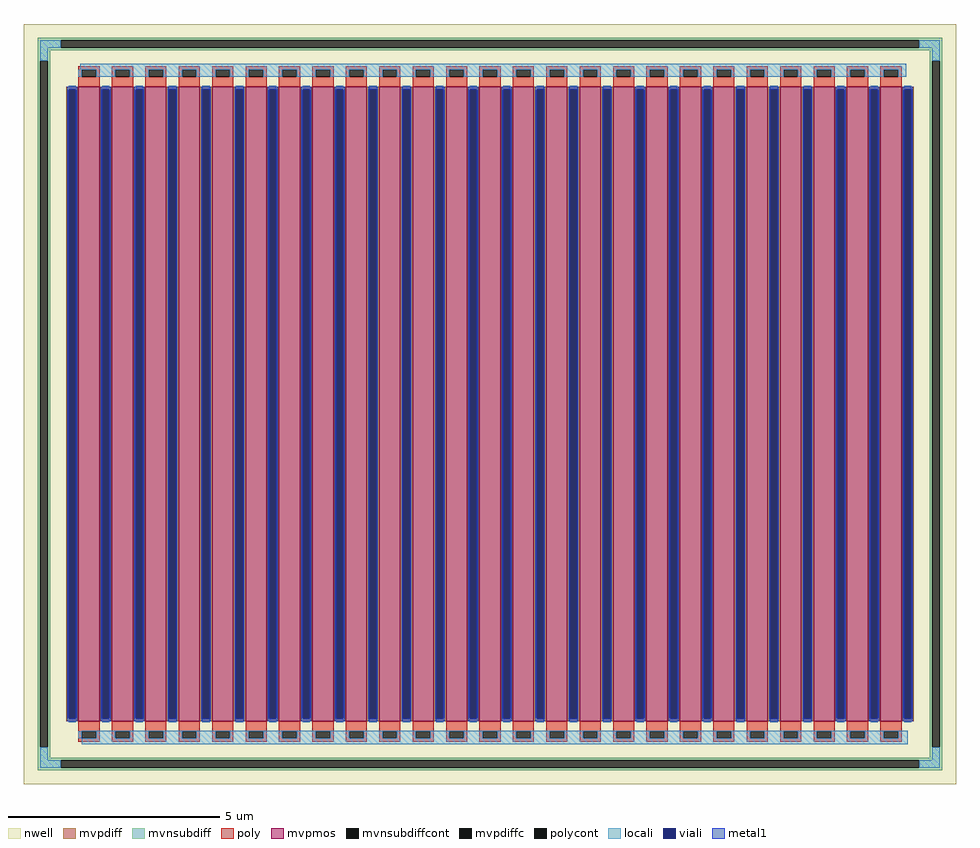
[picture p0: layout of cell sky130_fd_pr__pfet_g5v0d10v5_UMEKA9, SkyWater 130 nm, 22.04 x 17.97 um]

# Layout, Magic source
magic
tech sky130A
magscale 1 2
<< nwell >>
rect -2204 -1797 2204 1797
<< mvpmos >>
rect -1946 -1500 -1846 1500
rect -1788 -1500 -1688 1500
rect -1630 -1500 -1530 1500
rect -1472 -1500 -1372 1500
rect -1314 -1500 -1214 1500
rect -1156 -1500 -1056 1500
rect -998 -1500 -898 1500
rect -840 -1500 -740 1500
rect -682 -1500 -582 1500
rect -524 -1500 -424 1500
rect -366 -1500 -266 1500
rect -208 -1500 -108 1500
rect -50 -1500 50 1500
rect 108 -1500 208 1500
rect 266 -1500 366 1500
rect 424 -1500 524 1500
rect 582 -1500 682 1500
rect 740 -1500 840 1500
rect 898 -1500 998 1500
rect 1056 -1500 1156 1500
rect 1214 -1500 1314 1500
rect 1372 -1500 1472 1500
rect 1530 -1500 1630 1500
rect 1688 -1500 1788 1500
rect 1846 -1500 1946 1500
<< mvpdiff >>
rect -2004 1488 -1946 1500
rect -2004 -1488 -1992 1488
rect -1958 -1488 -1946 1488
rect -2004 -1500 -1946 -1488
rect -1846 1488 -1788 1500
rect -1846 -1488 -1834 1488
rect -1800 -1488 -1788 1488
rect -1846 -1500 -1788 -1488
rect -1688 1488 -1630 1500
rect -1688 -1488 -1676 1488
rect -1642 -1488 -1630 1488
rect -1688 -1500 -1630 -1488
rect -1530 1488 -1472 1500
rect -1530 -1488 -1518 1488
rect -1484 -1488 -1472 1488
rect -1530 -1500 -1472 -1488
rect -1372 1488 -1314 1500
rect -1372 -1488 -1360 1488
rect -1326 -1488 -1314 1488
rect -1372 -1500 -1314 -1488
rect -1214 1488 -1156 1500
rect -1214 -1488 -1202 1488
rect -1168 -1488 -1156 1488
rect -1214 -1500 -1156 -1488
rect -1056 1488 -998 1500
rect -1056 -1488 -1044 1488
rect -1010 -1488 -998 1488
rect -1056 -1500 -998 -1488
rect -898 1488 -840 1500
rect -898 -1488 -886 1488
rect -852 -1488 -840 1488
rect -898 -1500 -840 -1488
rect -740 1488 -682 1500
rect -740 -1488 -728 1488
rect -694 -1488 -682 1488
rect -740 -1500 -682 -1488
rect -582 1488 -524 1500
rect -582 -1488 -570 1488
rect -536 -1488 -524 1488
rect -582 -1500 -524 -1488
rect -424 1488 -366 1500
rect -424 -1488 -412 1488
rect -378 -1488 -366 1488
rect -424 -1500 -366 -1488
rect -266 1488 -208 1500
rect -266 -1488 -254 1488
rect -220 -1488 -208 1488
rect -266 -1500 -208 -1488
rect -108 1488 -50 1500
rect -108 -1488 -96 1488
rect -62 -1488 -50 1488
rect -108 -1500 -50 -1488
rect 50 1488 108 1500
rect 50 -1488 62 1488
rect 96 -1488 108 1488
rect 50 -1500 108 -1488
rect 208 1488 266 1500
rect 208 -1488 220 1488
rect 254 -1488 266 1488
rect 208 -1500 266 -1488
rect 366 1488 424 1500
rect 366 -1488 378 1488
rect 412 -1488 424 1488
rect 366 -1500 424 -1488
rect 524 1488 582 1500
rect 524 -1488 536 1488
rect 570 -1488 582 1488
rect 524 -1500 582 -1488
rect 682 1488 740 1500
rect 682 -1488 694 1488
rect 728 -1488 740 1488
rect 682 -1500 740 -1488
rect 840 1488 898 1500
rect 840 -1488 852 1488
rect 886 -1488 898 1488
rect 840 -1500 898 -1488
rect 998 1488 1056 1500
rect 998 -1488 1010 1488
rect 1044 -1488 1056 1488
rect 998 -1500 1056 -1488
rect 1156 1488 1214 1500
rect 1156 -1488 1168 1488
rect 1202 -1488 1214 1488
rect 1156 -1500 1214 -1488
rect 1314 1488 1372 1500
rect 1314 -1488 1326 1488
rect 1360 -1488 1372 1488
rect 1314 -1500 1372 -1488
rect 1472 1488 1530 1500
rect 1472 -1488 1484 1488
rect 1518 -1488 1530 1488
rect 1472 -1500 1530 -1488
rect 1630 1488 1688 1500
rect 1630 -1488 1642 1488
rect 1676 -1488 1688 1488
rect 1630 -1500 1688 -1488
rect 1788 1488 1846 1500
rect 1788 -1488 1800 1488
rect 1834 -1488 1846 1488
rect 1788 -1500 1846 -1488
rect 1946 1488 2004 1500
rect 1946 -1488 1958 1488
rect 1992 -1488 2004 1488
rect 1946 -1500 2004 -1488
<< mvpdiffc >>
rect -1992 -1488 -1958 1488
rect -1834 -1488 -1800 1488
rect -1676 -1488 -1642 1488
rect -1518 -1488 -1484 1488
rect -1360 -1488 -1326 1488
rect -1202 -1488 -1168 1488
rect -1044 -1488 -1010 1488
rect -886 -1488 -852 1488
rect -728 -1488 -694 1488
rect -570 -1488 -536 1488
rect -412 -1488 -378 1488
rect -254 -1488 -220 1488
rect -96 -1488 -62 1488
rect 62 -1488 96 1488
rect 220 -1488 254 1488
rect 378 -1488 412 1488
rect 536 -1488 570 1488
rect 694 -1488 728 1488
rect 852 -1488 886 1488
rect 1010 -1488 1044 1488
rect 1168 -1488 1202 1488
rect 1326 -1488 1360 1488
rect 1484 -1488 1518 1488
rect 1642 -1488 1676 1488
rect 1800 -1488 1834 1488
rect 1958 -1488 1992 1488
<< mvnsubdiff >>
rect -2138 1719 2138 1731
rect -2138 1685 -2030 1719
rect 2030 1685 2138 1719
rect -2138 1673 2138 1685
rect -2138 1623 -2080 1673
rect -2138 -1623 -2126 1623
rect -2092 -1623 -2080 1623
rect 2080 1623 2138 1673
rect -2138 -1673 -2080 -1623
rect 2080 -1623 2092 1623
rect 2126 -1623 2138 1623
rect 2080 -1673 2138 -1623
rect -2138 -1685 2138 -1673
rect -2138 -1719 -2030 -1685
rect 2030 -1719 2138 -1685
rect -2138 -1731 2138 -1719
<< mvnsubdiffcont >>
rect -2030 1685 2030 1719
rect -2126 -1623 -2092 1623
rect 2092 -1623 2126 1623
rect -2030 -1719 2030 -1685
<< poly >>
rect -1946 1581 -1846 1597
rect -1946 1547 -1930 1581
rect -1862 1547 -1846 1581
rect -1946 1500 -1846 1547
rect -1788 1581 -1688 1597
rect -1788 1547 -1772 1581
rect -1704 1547 -1688 1581
rect -1788 1500 -1688 1547
rect -1630 1581 -1530 1597
rect -1630 1547 -1614 1581
rect -1546 1547 -1530 1581
rect -1630 1500 -1530 1547
rect -1472 1581 -1372 1597
rect -1472 1547 -1456 1581
rect -1388 1547 -1372 1581
rect -1472 1500 -1372 1547
rect -1314 1581 -1214 1597
rect -1314 1547 -1298 1581
rect -1230 1547 -1214 1581
rect -1314 1500 -1214 1547
rect -1156 1581 -1056 1597
rect -1156 1547 -1140 1581
rect -1072 1547 -1056 1581
rect -1156 1500 -1056 1547
rect -998 1581 -898 1597
rect -998 1547 -982 1581
rect -914 1547 -898 1581
rect -998 1500 -898 1547
rect -840 1581 -740 1597
rect -840 1547 -824 1581
rect -756 1547 -740 1581
rect -840 1500 -740 1547
rect -682 1581 -582 1597
rect -682 1547 -666 1581
rect -598 1547 -582 1581
rect -682 1500 -582 1547
rect -524 1581 -424 1597
rect -524 1547 -508 1581
rect -440 1547 -424 1581
rect -524 1500 -424 1547
rect -366 1581 -266 1597
rect -366 1547 -350 1581
rect -282 1547 -266 1581
rect -366 1500 -266 1547
rect -208 1581 -108 1597
rect -208 1547 -192 1581
rect -124 1547 -108 1581
rect -208 1500 -108 1547
rect -50 1581 50 1597
rect -50 1547 -34 1581
rect 34 1547 50 1581
rect -50 1500 50 1547
rect 108 1581 208 1597
rect 108 1547 124 1581
rect 192 1547 208 1581
rect 108 1500 208 1547
rect 266 1581 366 1597
rect 266 1547 282 1581
rect 350 1547 366 1581
rect 266 1500 366 1547
rect 424 1581 524 1597
rect 424 1547 440 1581
rect 508 1547 524 1581
rect 424 1500 524 1547
rect 582 1581 682 1597
rect 582 1547 598 1581
rect 666 1547 682 1581
rect 582 1500 682 1547
rect 740 1581 840 1597
rect 740 1547 756 1581
rect 824 1547 840 1581
rect 740 1500 840 1547
rect 898 1581 998 1597
rect 898 1547 914 1581
rect 982 1547 998 1581
rect 898 1500 998 1547
rect 1056 1581 1156 1597
rect 1056 1547 1072 1581
rect 1140 1547 1156 1581
rect 1056 1500 1156 1547
rect 1214 1581 1314 1597
rect 1214 1547 1230 1581
rect 1298 1547 1314 1581
rect 1214 1500 1314 1547
rect 1372 1581 1472 1597
rect 1372 1547 1388 1581
rect 1456 1547 1472 1581
rect 1372 1500 1472 1547
rect 1530 1581 1630 1597
rect 1530 1547 1546 1581
rect 1614 1547 1630 1581
rect 1530 1500 1630 1547
rect 1688 1581 1788 1597
rect 1688 1547 1704 1581
rect 1772 1547 1788 1581
rect 1688 1500 1788 1547
rect 1846 1581 1946 1597
rect 1846 1547 1862 1581
rect 1930 1547 1946 1581
rect 1846 1500 1946 1547
rect -1946 -1547 -1846 -1500
rect -1946 -1581 -1930 -1547
rect -1862 -1581 -1846 -1547
rect -1946 -1597 -1846 -1581
rect -1788 -1547 -1688 -1500
rect -1788 -1581 -1772 -1547
rect -1704 -1581 -1688 -1547
rect -1788 -1597 -1688 -1581
rect -1630 -1547 -1530 -1500
rect -1630 -1581 -1614 -1547
rect -1546 -1581 -1530 -1547
rect -1630 -1597 -1530 -1581
rect -1472 -1547 -1372 -1500
rect -1472 -1581 -1456 -1547
rect -1388 -1581 -1372 -1547
rect -1472 -1597 -1372 -1581
rect -1314 -1547 -1214 -1500
rect -1314 -1581 -1298 -1547
rect -1230 -1581 -1214 -1547
rect -1314 -1597 -1214 -1581
rect -1156 -1547 -1056 -1500
rect -1156 -1581 -1140 -1547
rect -1072 -1581 -1056 -1547
rect -1156 -1597 -1056 -1581
rect -998 -1547 -898 -1500
rect -998 -1581 -982 -1547
rect -914 -1581 -898 -1547
rect -998 -1597 -898 -1581
rect -840 -1547 -740 -1500
rect -840 -1581 -824 -1547
rect -756 -1581 -740 -1547
rect -840 -1597 -740 -1581
rect -682 -1547 -582 -1500
rect -682 -1581 -666 -1547
rect -598 -1581 -582 -1547
rect -682 -1597 -582 -1581
rect -524 -1547 -424 -1500
rect -524 -1581 -508 -1547
rect -440 -1581 -424 -1547
rect -524 -1597 -424 -1581
rect -366 -1547 -266 -1500
rect -366 -1581 -350 -1547
rect -282 -1581 -266 -1547
rect -366 -1597 -266 -1581
rect -208 -1547 -108 -1500
rect -208 -1581 -192 -1547
rect -124 -1581 -108 -1547
rect -208 -1597 -108 -1581
rect -50 -1547 50 -1500
rect -50 -1581 -34 -1547
rect 34 -1581 50 -1547
rect -50 -1597 50 -1581
rect 108 -1547 208 -1500
rect 108 -1581 124 -1547
rect 192 -1581 208 -1547
rect 108 -1597 208 -1581
rect 266 -1547 366 -1500
rect 266 -1581 282 -1547
rect 350 -1581 366 -1547
rect 266 -1597 366 -1581
rect 424 -1547 524 -1500
rect 424 -1581 440 -1547
rect 508 -1581 524 -1547
rect 424 -1597 524 -1581
rect 582 -1547 682 -1500
rect 582 -1581 598 -1547
rect 666 -1581 682 -1547
rect 582 -1597 682 -1581
rect 740 -1547 840 -1500
rect 740 -1581 756 -1547
rect 824 -1581 840 -1547
rect 740 -1597 840 -1581
rect 898 -1547 998 -1500
rect 898 -1581 914 -1547
rect 982 -1581 998 -1547
rect 898 -1597 998 -1581
rect 1056 -1547 1156 -1500
rect 1056 -1581 1072 -1547
rect 1140 -1581 1156 -1547
rect 1056 -1597 1156 -1581
rect 1214 -1547 1314 -1500
rect 1214 -1581 1230 -1547
rect 1298 -1581 1314 -1547
rect 1214 -1597 1314 -1581
rect 1372 -1547 1472 -1500
rect 1372 -1581 1388 -1547
rect 1456 -1581 1472 -1547
rect 1372 -1597 1472 -1581
rect 1530 -1547 1630 -1500
rect 1530 -1581 1546 -1547
rect 1614 -1581 1630 -1547
rect 1530 -1597 1630 -1581
rect 1688 -1547 1788 -1500
rect 1688 -1581 1704 -1547
rect 1772 -1581 1788 -1547
rect 1688 -1597 1788 -1581
rect 1846 -1547 1946 -1500
rect 1846 -1581 1862 -1547
rect 1930 -1581 1946 -1547
rect 1846 -1597 1946 -1581
<< polycont >>
rect -1930 1547 -1862 1581
rect -1772 1547 -1704 1581
rect -1614 1547 -1546 1581
rect -1456 1547 -1388 1581
rect -1298 1547 -1230 1581
rect -1140 1547 -1072 1581
rect -982 1547 -914 1581
rect -824 1547 -756 1581
rect -666 1547 -598 1581
rect -508 1547 -440 1581
rect -350 1547 -282 1581
rect -192 1547 -124 1581
rect -34 1547 34 1581
rect 124 1547 192 1581
rect 282 1547 350 1581
rect 440 1547 508 1581
rect 598 1547 666 1581
rect 756 1547 824 1581
rect 914 1547 982 1581
rect 1072 1547 1140 1581
rect 1230 1547 1298 1581
rect 1388 1547 1456 1581
rect 1546 1547 1614 1581
rect 1704 1547 1772 1581
rect 1862 1547 1930 1581
rect -1930 -1581 -1862 -1547
rect -1772 -1581 -1704 -1547
rect -1614 -1581 -1546 -1547
rect -1456 -1581 -1388 -1547
rect -1298 -1581 -1230 -1547
rect -1140 -1581 -1072 -1547
rect -982 -1581 -914 -1547
rect -824 -1581 -756 -1547
rect -666 -1581 -598 -1547
rect -508 -1581 -440 -1547
rect -350 -1581 -282 -1547
rect -192 -1581 -124 -1547
rect -34 -1581 34 -1547
rect 124 -1581 192 -1547
rect 282 -1581 350 -1547
rect 440 -1581 508 -1547
rect 598 -1581 666 -1547
rect 756 -1581 824 -1547
rect 914 -1581 982 -1547
rect 1072 -1581 1140 -1547
rect 1230 -1581 1298 -1547
rect 1388 -1581 1456 -1547
rect 1546 -1581 1614 -1547
rect 1704 -1581 1772 -1547
rect 1862 -1581 1930 -1547
<< locali >>
rect -2126 1685 -2030 1719
rect 2030 1685 2126 1719
rect -2126 1623 -2092 1685
rect 2092 1623 2126 1685
rect -1937 1581 1969 1610
rect -1946 1547 -1930 1581
rect -1862 1548 -1772 1581
rect -1862 1547 -1846 1548
rect -1788 1547 -1772 1548
rect -1704 1548 -1614 1581
rect -1704 1547 -1688 1548
rect -1630 1547 -1614 1548
rect -1546 1548 -1456 1581
rect -1546 1547 -1530 1548
rect -1472 1547 -1456 1548
rect -1388 1548 -1298 1581
rect -1388 1547 -1372 1548
rect -1314 1547 -1298 1548
rect -1230 1548 -1140 1581
rect -1230 1547 -1214 1548
rect -1156 1547 -1140 1548
rect -1072 1548 -982 1581
rect -1072 1547 -1056 1548
rect -998 1547 -982 1548
rect -914 1548 -824 1581
rect -914 1547 -898 1548
rect -840 1547 -824 1548
rect -756 1548 -666 1581
rect -756 1547 -740 1548
rect -682 1547 -666 1548
rect -598 1548 -508 1581
rect -598 1547 -582 1548
rect -524 1547 -508 1548
rect -440 1548 -350 1581
rect -440 1547 -424 1548
rect -366 1547 -350 1548
rect -282 1548 -192 1581
rect -282 1547 -266 1548
rect -208 1547 -192 1548
rect -124 1548 -34 1581
rect -124 1547 -108 1548
rect -50 1547 -34 1548
rect 34 1548 124 1581
rect 34 1547 50 1548
rect 108 1547 124 1548
rect 192 1548 282 1581
rect 192 1547 208 1548
rect 266 1547 282 1548
rect 350 1548 440 1581
rect 350 1547 366 1548
rect 424 1547 440 1548
rect 508 1548 598 1581
rect 508 1547 524 1548
rect 582 1547 598 1548
rect 666 1548 756 1581
rect 666 1547 682 1548
rect 740 1547 756 1548
rect 824 1548 914 1581
rect 824 1547 840 1548
rect 898 1547 914 1548
rect 982 1548 1072 1581
rect 982 1547 998 1548
rect 1056 1547 1072 1548
rect 1140 1548 1230 1581
rect 1140 1547 1156 1548
rect 1214 1547 1230 1548
rect 1298 1548 1388 1581
rect 1298 1547 1314 1548
rect 1372 1547 1388 1548
rect 1456 1548 1546 1581
rect 1456 1547 1472 1548
rect 1530 1547 1546 1548
rect 1614 1548 1704 1581
rect 1614 1547 1630 1548
rect 1688 1547 1704 1548
rect 1772 1548 1862 1581
rect 1772 1547 1788 1548
rect 1846 1547 1862 1548
rect 1930 1548 1969 1581
rect 1930 1547 1946 1548
rect -1992 1488 -1958 1504
rect -1992 -1504 -1958 -1488
rect -1834 1488 -1800 1504
rect -1834 -1504 -1800 -1488
rect -1676 1488 -1642 1504
rect -1676 -1504 -1642 -1488
rect -1518 1488 -1484 1504
rect -1518 -1504 -1484 -1488
rect -1360 1488 -1326 1504
rect -1360 -1504 -1326 -1488
rect -1202 1488 -1168 1504
rect -1202 -1504 -1168 -1488
rect -1044 1488 -1010 1504
rect -1044 -1504 -1010 -1488
rect -886 1488 -852 1504
rect -886 -1504 -852 -1488
rect -728 1488 -694 1504
rect -728 -1504 -694 -1488
rect -570 1488 -536 1504
rect -570 -1504 -536 -1488
rect -412 1488 -378 1504
rect -412 -1504 -378 -1488
rect -254 1488 -220 1504
rect -254 -1504 -220 -1488
rect -96 1488 -62 1504
rect -96 -1504 -62 -1488
rect 62 1488 96 1504
rect 62 -1504 96 -1488
rect 220 1488 254 1504
rect 220 -1504 254 -1488
rect 378 1488 412 1504
rect 378 -1504 412 -1488
rect 536 1488 570 1504
rect 536 -1504 570 -1488
rect 694 1488 728 1504
rect 694 -1504 728 -1488
rect 852 1488 886 1504
rect 852 -1504 886 -1488
rect 1010 1488 1044 1504
rect 1010 -1504 1044 -1488
rect 1168 1488 1202 1504
rect 1168 -1504 1202 -1488
rect 1326 1488 1360 1504
rect 1326 -1504 1360 -1488
rect 1484 1488 1518 1504
rect 1484 -1504 1518 -1488
rect 1642 1488 1676 1504
rect 1642 -1504 1676 -1488
rect 1800 1488 1834 1504
rect 1800 -1504 1834 -1488
rect 1958 1488 1992 1504
rect 1958 -1504 1992 -1488
rect -1931 -1547 1975 -1546
rect -1946 -1581 -1930 -1547
rect -1862 -1581 -1772 -1547
rect -1704 -1581 -1614 -1547
rect -1546 -1581 -1456 -1547
rect -1388 -1581 -1298 -1547
rect -1230 -1581 -1140 -1547
rect -1072 -1581 -982 -1547
rect -914 -1581 -824 -1547
rect -756 -1581 -666 -1547
rect -598 -1581 -508 -1547
rect -440 -1581 -350 -1547
rect -282 -1581 -192 -1547
rect -124 -1581 -34 -1547
rect 34 -1581 124 -1547
rect 192 -1581 282 -1547
rect 350 -1581 440 -1547
rect 508 -1581 598 -1547
rect 666 -1581 756 -1547
rect 824 -1581 914 -1547
rect 982 -1581 1072 -1547
rect 1140 -1581 1230 -1547
rect 1298 -1581 1388 -1547
rect 1456 -1581 1546 -1547
rect 1614 -1581 1704 -1547
rect 1772 -1581 1862 -1547
rect 1930 -1581 1975 -1547
rect -1931 -1608 1975 -1581
rect -2126 -1685 -2092 -1623
rect 2092 -1685 2126 -1623
rect -2126 -1719 -2030 -1685
rect 2030 -1719 2126 -1685
<< viali >>
rect -1992 -1488 -1958 1488
rect -1834 -1488 -1800 1488
rect -1676 -1488 -1642 1488
rect -1518 -1488 -1484 1488
rect -1360 -1488 -1326 1488
rect -1202 -1488 -1168 1488
rect -1044 -1488 -1010 1488
rect -886 -1488 -852 1488
rect -728 -1488 -694 1488
rect -570 -1488 -536 1488
rect -412 -1488 -378 1488
rect -254 -1488 -220 1488
rect -96 -1488 -62 1488
rect 62 -1488 96 1488
rect 220 -1488 254 1488
rect 378 -1488 412 1488
rect 536 -1488 570 1488
rect 694 -1488 728 1488
rect 852 -1488 886 1488
rect 1010 -1488 1044 1488
rect 1168 -1488 1202 1488
rect 1326 -1488 1360 1488
rect 1484 -1488 1518 1488
rect 1642 -1488 1676 1488
rect 1800 -1488 1834 1488
rect 1958 -1488 1992 1488
<< metal1 >>
rect -1998 1488 -1952 1500
rect -1998 -1488 -1992 1488
rect -1958 -1488 -1952 1488
rect -1998 -1500 -1952 -1488
rect -1840 1488 -1794 1500
rect -1840 -1488 -1834 1488
rect -1800 -1488 -1794 1488
rect -1840 -1500 -1794 -1488
rect -1682 1488 -1636 1500
rect -1682 -1488 -1676 1488
rect -1642 -1488 -1636 1488
rect -1682 -1500 -1636 -1488
rect -1524 1488 -1478 1500
rect -1524 -1488 -1518 1488
rect -1484 -1488 -1478 1488
rect -1524 -1500 -1478 -1488
rect -1366 1488 -1320 1500
rect -1366 -1488 -1360 1488
rect -1326 -1488 -1320 1488
rect -1366 -1500 -1320 -1488
rect -1208 1488 -1162 1500
rect -1208 -1488 -1202 1488
rect -1168 -1488 -1162 1488
rect -1208 -1500 -1162 -1488
rect -1050 1488 -1004 1500
rect -1050 -1488 -1044 1488
rect -1010 -1488 -1004 1488
rect -1050 -1500 -1004 -1488
rect -892 1488 -846 1500
rect -892 -1488 -886 1488
rect -852 -1488 -846 1488
rect -892 -1500 -846 -1488
rect -734 1488 -688 1500
rect -734 -1488 -728 1488
rect -694 -1488 -688 1488
rect -734 -1500 -688 -1488
rect -576 1488 -530 1500
rect -576 -1488 -570 1488
rect -536 -1488 -530 1488
rect -576 -1500 -530 -1488
rect -418 1488 -372 1500
rect -418 -1488 -412 1488
rect -378 -1488 -372 1488
rect -418 -1500 -372 -1488
rect -260 1488 -214 1500
rect -260 -1488 -254 1488
rect -220 -1488 -214 1488
rect -260 -1500 -214 -1488
rect -102 1488 -56 1500
rect -102 -1488 -96 1488
rect -62 -1488 -56 1488
rect -102 -1500 -56 -1488
rect 56 1488 102 1500
rect 56 -1488 62 1488
rect 96 -1488 102 1488
rect 56 -1500 102 -1488
rect 214 1488 260 1500
rect 214 -1488 220 1488
rect 254 -1488 260 1488
rect 214 -1500 260 -1488
rect 372 1488 418 1500
rect 372 -1488 378 1488
rect 412 -1488 418 1488
rect 372 -1500 418 -1488
rect 530 1488 576 1500
rect 530 -1488 536 1488
rect 570 -1488 576 1488
rect 530 -1500 576 -1488
rect 688 1488 734 1500
rect 688 -1488 694 1488
rect 728 -1488 734 1488
rect 688 -1500 734 -1488
rect 846 1488 892 1500
rect 846 -1488 852 1488
rect 886 -1488 892 1488
rect 846 -1500 892 -1488
rect 1004 1488 1050 1500
rect 1004 -1488 1010 1488
rect 1044 -1488 1050 1488
rect 1004 -1500 1050 -1488
rect 1162 1488 1208 1500
rect 1162 -1488 1168 1488
rect 1202 -1488 1208 1488
rect 1162 -1500 1208 -1488
rect 1320 1488 1366 1500
rect 1320 -1488 1326 1488
rect 1360 -1488 1366 1488
rect 1320 -1500 1366 -1488
rect 1478 1488 1524 1500
rect 1478 -1488 1484 1488
rect 1518 -1488 1524 1488
rect 1478 -1500 1524 -1488
rect 1636 1488 1682 1500
rect 1636 -1488 1642 1488
rect 1676 -1488 1682 1488
rect 1636 -1500 1682 -1488
rect 1794 1488 1840 1500
rect 1794 -1488 1800 1488
rect 1834 -1488 1840 1488
rect 1794 -1500 1840 -1488
rect 1952 1488 1998 1500
rect 1952 -1488 1958 1488
rect 1992 -1488 1998 1488
rect 1952 -1500 1998 -1488
<< properties >>
string FIXED_BBOX -2109 -1702 2109 1702
string gencell sky130_fd_pr__pfet_g5v0d10v5
string library sky130
string parameters w 15 l 0.5 m 1 nf 25 diffcov 100 polycov 100 guard 1 glc 1 grc 1 gtc 1 gbc 1 tbcov 100 rlcov 100 topc 1 botc 1 poverlap 0 doverlap 1 lmin 0.50 wmin 0.42 class mosfet compatible {sky130_fd_pr__pfet_01v8  sky130_fd_pr__pfet_01v8_lvt sky130_fd_pr__pfet_01v8_hvt  sky130_fd_pr__pfet_g5v0d10v5} full_metal 1 conn_gates 0 viasrc 100 viadrn 100 viagate 100 viagb 0 viagr 0 viagl 0 viagt 0 doports 1
<< end >>
